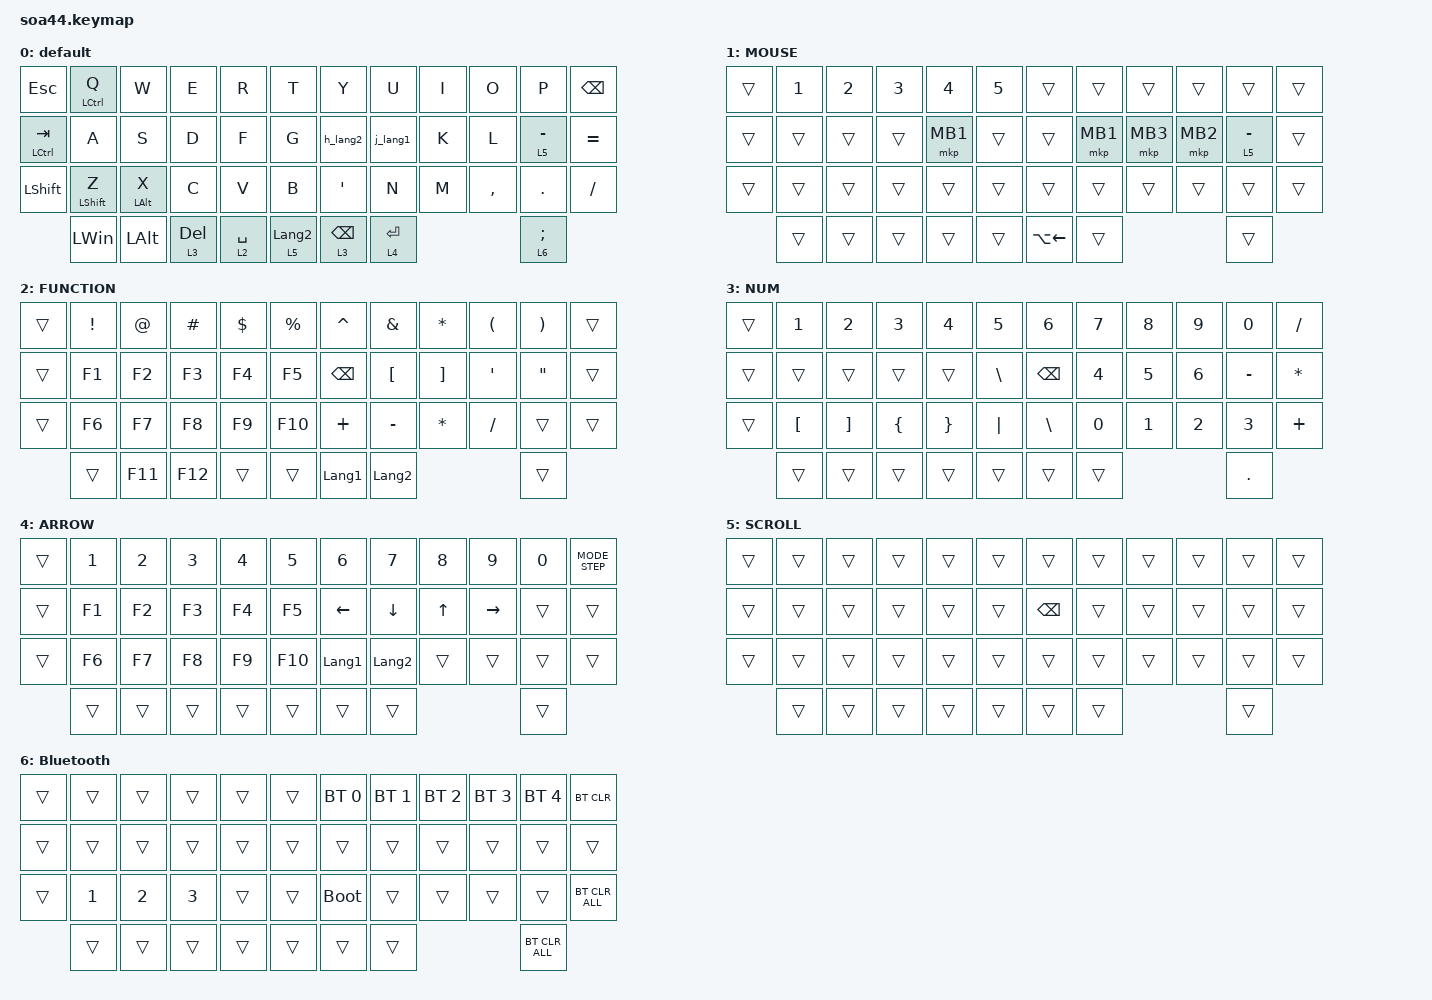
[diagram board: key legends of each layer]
#include <behaviors.dtsi>
#include <dt-bindings/zmk/bt.h>
#include <dt-bindings/zmk/keys.h>
#include <dt-bindings/zmk/pointing.h>

&mt {
    flavor = "balanced";
    quick-tap-ms = <0>;
};

/ {
    combos {
        compatible = "zmk,combos";

        tab {
            bindings = <&kp TAB>;
            key-positions = <11 12>;
        };

        shift_tab {
            bindings = <&kp LS(TAB)>;
            key-positions = <12 13>;
        };

        muhennkann {
            bindings = <&to_layer_0 INT_MUHENKAN>;
            key-positions = <11 10>;
        };

        double_quotation {
            bindings = <&kp DOUBLE_QUOTES>;
            key-positions = <20 21>;
        };

        eq {
            bindings = <&kp EQUAL>;
            key-positions = <24 25>;
        };
    };

    macros {
        to_layer_0: to_layer_0 {
            compatible = "zmk,behavior-macro-one-param";
            #binding-cells = <1>;
            bindings = <&to 0 &macro_param_1to1 &kp MACRO_PLACEHOLDER>;
            label = "TO_LAYER_0";
        };
    };

    behaviors {
        j_lang1: j_lang1 {
            compatible = "zmk,behavior-tap-dance";
            #binding-cells = <0>;
            tapping-term-ms = <200>;
            bindings = <&kp J>, <&kp LANGUAGE_1>;
        };

        h_lang2: h_lang2 {
            compatible = "zmk,behavior-tap-dance";
            #binding-cells = <0>;
            tapping-term-ms = <200>;
            bindings = <&kp H>, <&kp LANGUAGE_2>;
        };

        lt_to_layer_0: lt_to_layer_0 {
            compatible = "zmk,behavior-hold-tap";
            label = "LAYER_TAP_TO_0";
            bindings = <&mo>, <&to_layer_0>;

            #binding-cells = <2>;
            tapping-term-ms = <200>;
        };
    };

    keymap {
        compatible = "zmk,keymap";

        default {
            bindings = <
&kp ESCAPE      &mt LEFT_CONTROL Q  &kp W           &kp E         &kp R        &kp T             &kp Y            &kp U        &kp I  &kp O      &kp P            &kp BACKSPACE
&mt LCTRL TAB   &kp A               &kp S           &kp D         &kp F        &kp G             &h_lang2          &j_lang1      &kp K  &kp L      &lt 5 MINUS      &kp EQUAL
&kp LEFT_SHIFT  &mt LEFT_SHIFT Z    &mt LEFT_ALT X  &kp C         &kp V        &kp B             &kp SQT          &kp N        &kp M  &kp COMMA  &kp DOT          &kp SLASH
                &kp LEFT_WIN        &kp LEFT_ALT    &lt 3 DELETE  &lt 2 SPACE  &lt 5 LANGUAGE_2  &lt 3 BACKSPACE  &lt 4 ENTER                    &lt 6 SEMICOLON
            >;
        };

        MOUSE {
            bindings = <
&trans  &kp N1  &kp N2  &kp N3  &kp N4    &kp N5  &trans              &trans    &trans    &trans    &trans       &trans
&trans  &trans  &trans  &trans  &mkp MB1  &trans  &trans              &mkp MB1  &mkp MB3  &mkp MB2  &lt 5 MINUS  &trans
&trans  &trans  &trans  &trans  &trans    &trans  &trans              &trans    &trans    &trans    &trans       &trans
        &trans  &trans  &trans  &trans    &trans  &kp LA(LEFT_ARROW)  &trans                        &trans
            >;
        };

        FUNCTION {
            bindings = <
&trans  &kp EXCLAMATION  &kp AT_SIGN  &kp HASH  &kp DOLLAR  &kp PERCENT  &kp CARET       &kp AMPERSAND     &kp ASTERISK       &kp LEFT_PARENTHESIS  &kp RIGHT_PARENTHESIS  &trans
&trans  &kp F1           &kp F2       &kp F3    &kp F4      &kp F5       &kp BACKSPACE   &kp LEFT_BRACKET  &kp RIGHT_BRACKET  &kp SQT               &kp DOUBLE_QUOTES      &trans
&trans  &kp F6           &kp F7       &kp F8    &kp F9      &kp F10      &kp PLUS        &kp MINUS         &kp ASTRK          &kp SLASH             &trans                 &trans
        &trans           &kp F11      &kp F12   &trans      &trans       &kp LANGUAGE_1  &kp LANGUAGE_2                                             &trans
            >;
        };

        NUM {
            bindings = <
&trans  &kp N1            &kp N2             &kp N3          &kp N4           &kp N5         &kp N6         &kp N7  &kp N8  &kp N9  &kp N0      &kp SLASH
&trans  &trans            &trans             &trans          &trans           &kp BACKSLASH  &kp BACKSPACE  &kp N4  &kp N5  &kp N6  &kp MINUS   &kp ASTERISK
&trans  &kp LEFT_BRACKET  &kp RIGHT_BRACKET  &kp LEFT_BRACE  &kp RIGHT_BRACE  &kp PIPE       &kp BACKSLASH  &kp N0  &kp N1  &kp N2  &kp N3      &kp PLUS
        &trans            &trans             &trans          &trans           &trans         &trans         &trans                  &kp PERIOD
            >;
        };

        ARROW {
            bindings = <
&trans  &kp N1  &kp N2  &kp N3  &kp N4  &kp N5   &kp N6          &kp N7          &kp N8        &kp N9     &kp N0  &kp C_MODE_STEP
&trans  &kp F1  &kp F2  &kp F3  &kp F4  &kp F5   &kp LEFT        &kp DOWN        &kp UP_ARROW  &kp RIGHT  &trans  &trans
&trans  &kp F6  &kp F7  &kp F8  &kp F9  &kp F10  &kp LANGUAGE_1  &kp LANGUAGE_2  &trans        &trans     &trans  &trans
        &trans  &trans  &trans  &trans  &trans   &trans          &trans                                   &trans
            >;
        };

        SCROLL {
            bindings = <
&trans  &trans  &trans  &trans  &trans  &trans  &trans         &trans  &trans  &trans  &trans  &trans
&trans  &trans  &trans  &trans  &trans  &trans  &kp BACKSPACE  &trans  &trans  &trans  &trans  &trans
&trans  &trans  &trans  &trans  &trans  &trans  &trans         &trans  &trans  &trans  &trans  &trans
        &trans  &trans  &trans  &trans  &trans  &trans         &trans                  &trans
            >;
        };

        Bluetooth {
            bindings = <
&trans  &trans        &trans        &trans        &trans  &trans  &bt BT_SEL 0  &bt BT_SEL 1  &bt BT_SEL 2  &bt BT_SEL 3  &bt BT_SEL 4    &bt BT_CLR
&trans  &trans        &trans        &trans        &trans  &trans  &trans        &trans        &trans        &trans        &trans          &trans
&trans  &kp NUMBER_1  &kp NUMBER_2  &kp NUMBER_3  &trans  &trans  &bootloader   &trans        &trans        &trans        &trans          &bt BT_CLR_ALL
        &trans        &trans        &trans        &trans  &trans  &trans        &trans                                    &bt BT_CLR_ALL
            >;
        };
    };
};
